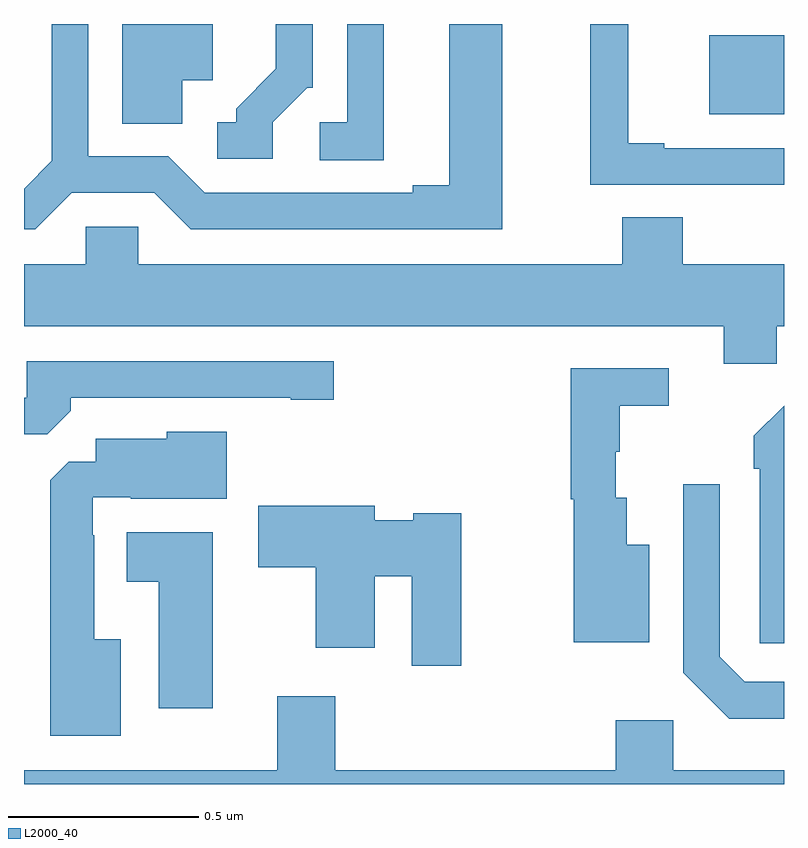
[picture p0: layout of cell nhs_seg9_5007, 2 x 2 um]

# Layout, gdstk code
import gdstk
lib = gdstk.Library(unit=1e-6, precision=1e-09)
def R(c, l, rs):  # rectangles x0, y0, x1, y1
    for r in rs: c.add(gdstk.rectangle(r[:2], r[2:], *l))
def P(c, l, *ps):  # polygons
    for p in ps: c.add(gdstk.Polygon(p, *l))
L2000_40 = (2000, 40)

nhs_seg9_5007 = lib.new_cell('nhs_seg9_5007')
R(nhs_seg9_5007, L2000_40, [(174.803,1246.262,175,1246.471)])
P(nhs_seg9_5007, L2000_40, [(175,1246.173),(174.685,1246.173),(174.685,1246.186),(174.59,1246.186),(174.59,1246.5),(174.49,1246.5),(174.49,1246.077),(175,1246.077)],
  [(173.125,1246.056),(173.343,1246.056),(173.439,1245.96),(174.259,1245.96),(174.259,1246.5),(174.119,1246.5),(174.119,1246.076),(174.023,1246.076),(174.023,1246.056),(173.475,1246.056),(173.379,1246.152),(173.169,1246.152),(173.169,1246.5),(173.073,1246.5),(173.073,1246.14),(173,1246.067),(173,1245.96),(173.029,1245.96)],
  [(173.947,1246.5),(173.85,1246.5),(173.85,1246.242),(173.778,1246.242),(173.778,1246.141),(173.947,1246.141)],
  [(173.655,1246.242),(173.745,1246.332),(173.76,1246.332),(173.76,1246.5),(173.663,1246.5),(173.663,1246.382),(173.558,1246.277),(173.558,1246.242),(173.508,1246.242),(173.508,1246.146),(173.655,1246.146)],
  [(173.416,1246.352),(173.497,1246.352),(173.497,1246.5),(173.258,1246.5),(173.258,1246.237),(173.416,1246.237)],
  [(174.981,1245.704),(175,1245.704),(175,1245.868),(174.734,1245.868),(174.734,1245.992),(174.574,1245.992),(174.574,1245.868),(173.301,1245.868),(173.301,1245.966),(173.163,1245.966),(173.163,1245.868),(173,1245.868),(173,1245.704),(174.842,1245.704),(174.842,1245.606),(174.981,1245.606)],
  [(173.123,1245.482),(173.123,1245.516),(173.702,1245.516),(173.702,1245.511),(173.815,1245.511),(173.815,1245.612),(173.007,1245.612),(173.007,1245.516),(173,1245.516),(173,1245.42),(173.061,1245.42)],
  [(174.646,1245.13),(174.586,1245.13),(174.586,1245.253),(174.557,1245.253),(174.557,1245.375),(174.568,1245.375),(174.568,1245.496),(174.697,1245.496),(174.697,1245.594),(174.439,1245.594),(174.439,1245.249),(174.447,1245.249),(174.447,1244.873),(174.646,1244.873)],
  [(175,1245.496),(174.921,1245.417),(174.921,1245.329),(174.936,1245.329),(174.936,1244.871),(175,1244.871)],
  [(173.254,1244.881),(173.185,1244.881),(173.185,1245.155),(173.181,1245.155),(173.181,1245.255),(173.281,1245.255),(173.281,1245.251),(173.533,1245.251),(173.533,1245.427),(173.376,1245.427),(173.376,1245.409),(173.189,1245.409),(173.189,1245.348),(173.118,1245.348),(173.069,1245.299),(173.069,1244.627),(173.254,1244.627)],
  [(175,1244.769),(174.897,1244.769),(174.831,1244.835),(174.831,1245.289),(174.735,1245.289),(174.735,1244.793),(174.856,1244.672),(175,1244.672)],
  [(174.15,1245.212),(174.024,1245.212),(174.024,1245.194),(173.923,1245.194),(173.923,1245.232),(173.616,1245.232),(173.616,1245.07),(173.768,1245.07),(173.768,1244.859),(173.923,1244.859),(173.923,1245.047),(174.02,1245.047),(174.02,1244.811),(174.15,1244.811)],
  [(173.497,1245.163),(173.27,1245.163),(173.27,1245.032),(173.354,1245.032),(173.354,1244.7),(173.497,1244.7)],
  [(175,1244.536),(174.708,1244.536),(174.708,1244.668),(174.557,1244.668),(174.557,1244.536),(173.819,1244.536),(173.819,1244.731),(173.666,1244.731),(173.666,1244.536),(173,1244.536),(173,1244.5),(175,1244.5)])

lib.write_gds('nhs_seg9_5007.gds')
